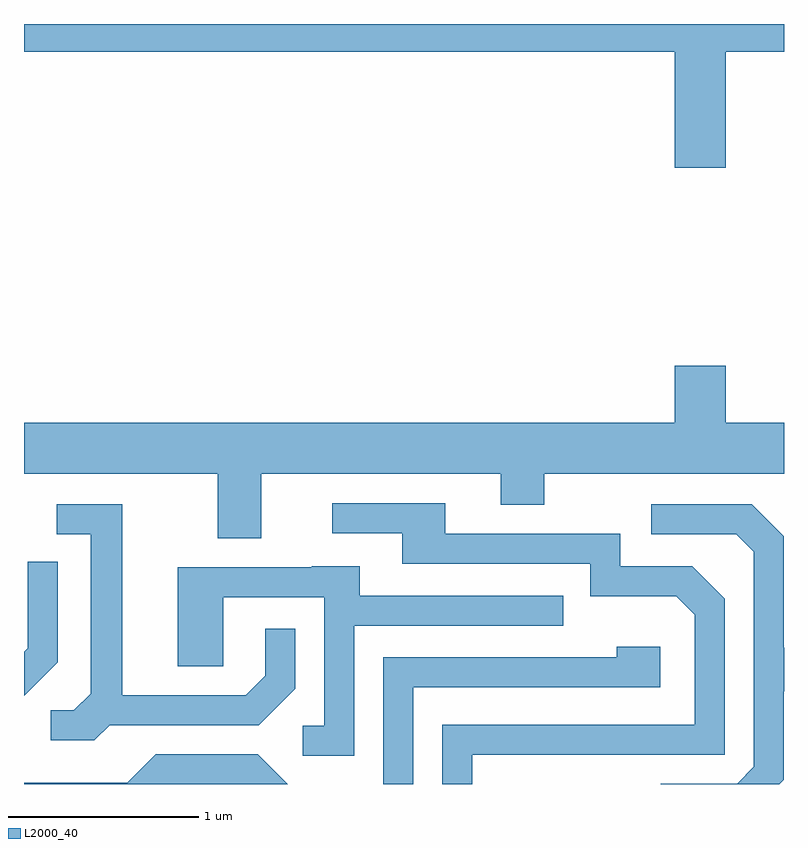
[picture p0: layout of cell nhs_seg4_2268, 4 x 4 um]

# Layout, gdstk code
import gdstk
lib = gdstk.Library(unit=1e-6, precision=1e-09)
def P(c, l, *ps):  # polygons
    for p in ps: c.add(gdstk.Polygon(p, *l))
L2000_40 = (2000, 40)

nhs_seg4_2268 = lib.new_cell('nhs_seg4_2268')
P(nhs_seg4_2268, L2000_40, [(255.304,1305.836),(255.611,1305.836),(255.611,1305.982),(251.611,1305.982),(251.611,1305.836),(255.036,1305.836),(255.036,1305.226),(255.304,1305.226)],
  [(252.859,1303.616),(254.121,1303.616),(254.121,1303.451),(254.349,1303.451),(254.349,1303.616),(255.611,1303.616),(255.611,1303.884),(255.304,1303.884),(255.304,1304.184),(255.036,1304.184),(255.036,1303.884),(251.611,1303.884),(251.611,1303.616),(252.631,1303.616),(252.631,1303.276),(252.859,1303.276)],
  [(253.969,1302.136),(255.299,1302.136),(255.299,1302.957),(255.127,1303.129),(254.749,1303.129),(254.749,1303.299),(253.829,1303.299),(253.829,1303.459),(253.233,1303.459),(253.233,1303.301),(253.601,1303.301),(253.601,1303.141),(254.591,1303.141),(254.591,1302.971),(255.044,1302.971),(255.141,1302.874),(255.141,1302.294),(253.811,1302.294),(253.811,1301.982),(253.969,1301.982)],
  [(255.609,1302.004),(255.609,1302.471),(255.611,1302.471),(255.611,1302.699),(255.609,1302.699),(255.609,1303.287),(255.442,1303.454),(254.913,1303.454),(254.913,1303.296),(255.359,1303.296),(255.451,1303.204),(255.451,1302.072),(255.364,1301.984),(254.963,1301.984),(254.963,1301.982),(255.587,1301.982)],
  [(252.062,1302.291),(252.847,1302.291),(253.039,1302.484),(253.039,1302.798),(252.881,1302.798),(252.881,1302.552),(252.779,1302.449),(252.129,1302.449),(252.129,1303.454),(251.783,1303.454),(251.783,1303.296),(251.961,1303.296),(251.961,1302.457),(251.874,1302.369),(251.753,1302.369),(251.753,1302.211),(251.982,1302.211)],
  [(251.789,1302.624),(251.789,1303.153),(251.631,1303.153),(251.631,1302.697),(251.611,1302.677),(251.611,1302.446)],
  [(253.349,1302.816),(254.448,1302.816),(254.448,1302.974),(253.379,1302.974),(253.379,1303.129),(253.125,1303.129),(253.125,1303.124),(252.421,1303.124),(252.421,1302.601),(252.659,1302.601),(252.659,1302.966),(253.191,1302.966),(253.191,1302.289),(253.078,1302.289),(253.078,1302.131),(253.349,1302.131)],
  [(253.659,1302.491),(254.959,1302.491),(254.959,1302.704),(254.731,1302.704),(254.731,1302.649),(253.501,1302.649),(253.501,1301.982),(253.659,1301.982)],
  [(252.842,1302.139),(252.304,1302.139),(252.154,1301.989),(251.611,1301.989),(251.611,1301.982),(252.999,1301.982)])

lib.write_gds('nhs_seg4_2268.gds')
